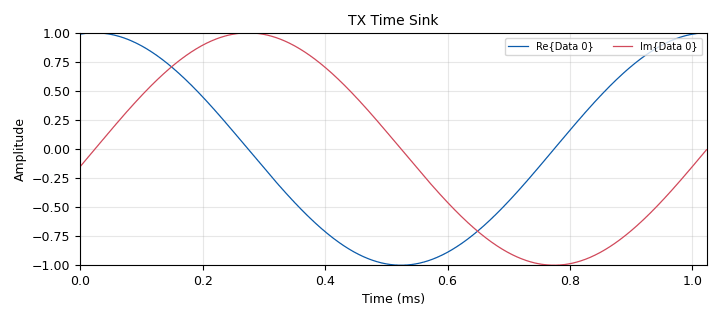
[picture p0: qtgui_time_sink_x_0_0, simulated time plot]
options:
  parameters:
    author: Jose Sanchez
    generate_options: qt_gui
    id: FileWrite_RX
    output_language: python
    title: FileWrite_RX
  states: {}

blocks:
- name: Bandwidth
  id: variable
  parameters:
    value: 0.5e6
  states: {}
- name: Freq
  id: variable
  parameters:
    value: 3.555e9
  states: {}
- name: GainRx
  id: variable
  parameters:
    value: '36'
  states: {state: disabled}
- name: GainRx
  id: variable_qtgui_range
  parameters:
    orient: Qt.Horizontal
    start: '0'
    step: '1'
    stop: '100'
    value: '36'
  states: {}
- name: GainTx
  id: variable
  parameters:
    value: '31'
  states: {state: disabled}
- name: GainTx
  id: variable_qtgui_range
  parameters:
    orient: Qt.Horizontal
    start: '0'
    step: '1'
    stop: '100'
    value: '31'
  states: {}
- name: samp_rate
  id: variable
  parameters:
    value: '1000000'
  states: {}
- name: analog_sig_source_x_0
  id: analog_sig_source_x
  parameters:
    amp: '1'
    freq: '1000'
    offset: '0'
    phase: '0'
    samp_rate: samp_rate
    type: complex
    waveform: analog.GR_SIN_WAVE
  states: {}
- name: qtgui_freq_sink_x_0
  id: qtgui_freq_sink_x
  parameters:
    bw: samp_rate
    fc: '0'
    fftsize: '1024'
    name: '"RX Frequency Sink"'
    type: complex
    wintype: firdes.WIN_BLACKMAN_hARRIS
  states: {}
- name: qtgui_time_sink_x_0
  id: qtgui_time_sink_x
  parameters:
    name: '"RX Time Sink"'
    size: '1024'
    srate: samp_rate
    type: complex
  states: {}
- name: qtgui_time_sink_x_0_0
  id: qtgui_time_sink_x
  parameters:
    name: '"TX Time Sink"'
    size: '1024'
    srate: samp_rate
    type: complex
  states: {}
- name: uhd_usrp_sink_0
  id: uhd_usrp_sink
  parameters:
    ant0: TX/RX
    bw0: Bandwidth
    center_freq0: Freq
    dev_args: '""'
    gain0: GainTx
    len_tag_name: ''
    norm_gain0: 'False'
    samp_rate: samp_rate
    sync: sync
    type: fc32
  states: {}
- name: uhd_usrp_source_0
  id: uhd_usrp_source
  parameters:
    ant0: RX2
    bw0: Bandwidth
    center_freq0: Freq
    dc_offs_enb0: '""'
    dev_args: '""'
    gain0: GainRx
    iq_imbal_enb0: '""'
    norm_gain0: 'False'
    samp_rate: samp_rate
    sync: sync
    type: fc32
  states: {}

connections:
- [analog_sig_source_x_0, '0', qtgui_time_sink_x_0_0, '0']
- [analog_sig_source_x_0, '0', uhd_usrp_sink_0, '0']
- [uhd_usrp_source_0, '0', qtgui_freq_sink_x_0, '0']
- [uhd_usrp_source_0, '0', qtgui_time_sink_x_0, '0']

metadata:
  file_format: 1
